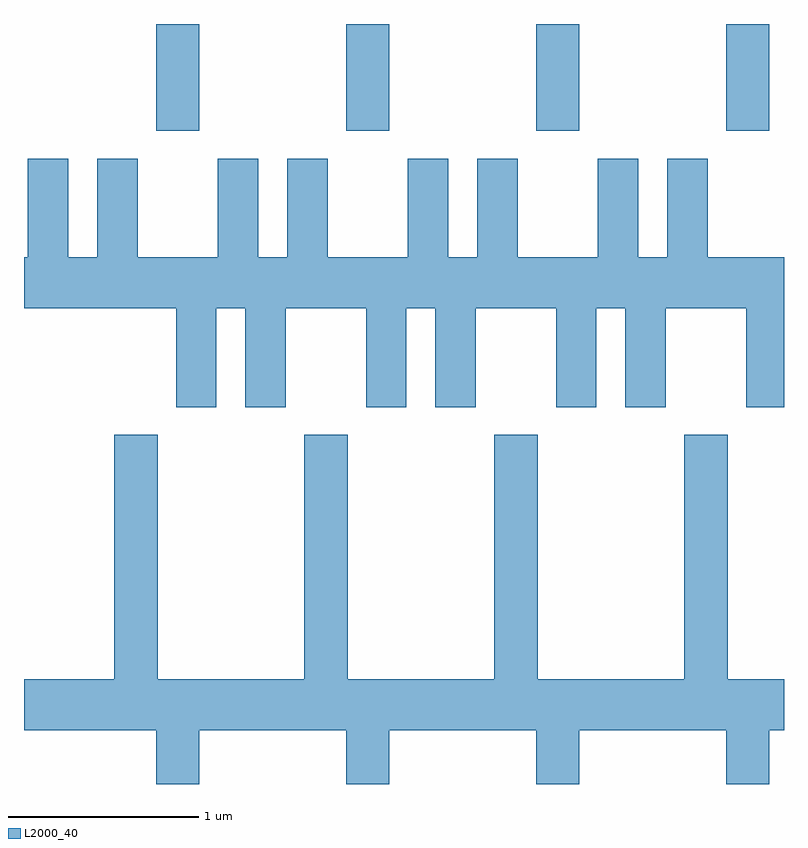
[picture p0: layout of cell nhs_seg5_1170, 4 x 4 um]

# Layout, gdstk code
import gdstk
lib = gdstk.Library(unit=1e-6, precision=1e-09)
def R(c, l, rs):  # rectangles x0, y0, x1, y1
    for r in rs: c.add(gdstk.rectangle(r[:2], r[2:], *l))
def A(c, l, x, y, w, h, nx, ny, dx, dy):  # array of equal rectangles
    R(c, l, [(x+i*dx, y+j*dy, x+i*dx+w, y+j*dy+h) for i in range(nx) for j in range(ny)])
def P(c, l, *ps):  # polygons
    for p in ps: c.add(gdstk.Polygon(p, *l))
L2000_40 = (2000, 40)

nhs_seg5_1170 = lib.new_cell('nhs_seg5_1170')
A(nhs_seg5_1170, L2000_40, 220.306, 1455.511, 0.228, 0.561, 4, 1, 1, 0)
P(nhs_seg5_1170, L2000_40, [(220.624,1454.576),(220.776,1454.576),(220.776,1454.056),(220.989,1454.056),(220.989,1454.576),(221.411,1454.576),(221.411,1454.056),(221.624,1454.056),(221.624,1454.576),(221.776,1454.576),(221.776,1454.056),(221.989,1454.056),(221.989,1454.576),(222.411,1454.576),(222.411,1454.056),(222.624,1454.056),(222.624,1454.576),(222.776,1454.576),(222.776,1454.056),(222.989,1454.056),(222.989,1454.576),(223.411,1454.576),(223.411,1454.056),(223.611,1454.056),(223.611,1454.844),(223.209,1454.844),(223.209,1455.364),(222.996,1455.364),(222.996,1454.844),(222.844,1454.844),(222.844,1455.364),(222.631,1455.364),(222.631,1454.844),(222.209,1454.844),(222.209,1455.364),(221.996,1455.364),(221.996,1454.844),(221.844,1454.844),(221.844,1455.364),(221.631,1455.364),(221.631,1454.844),(221.209,1454.844),(221.209,1455.364),(220.996,1455.364),(220.996,1454.844),(220.844,1454.844),(220.844,1455.364),(220.631,1455.364),(220.631,1454.844),(220.209,1454.844),(220.209,1455.364),(219.996,1455.364),(219.996,1454.844),(219.844,1454.844),(219.844,1455.364),(219.631,1455.364),(219.631,1454.844),(219.611,1454.844),(219.611,1454.576),(220.411,1454.576),(220.411,1454.056),(220.624,1454.056)],
  [(220.534,1452.356),(221.306,1452.356),(221.306,1452.072),(221.534,1452.072),(221.534,1452.356),(222.306,1452.356),(222.306,1452.072),(222.534,1452.072),(222.534,1452.356),(223.306,1452.356),(223.306,1452.072),(223.534,1452.072),(223.534,1452.356),(223.611,1452.356),(223.611,1452.624),(223.314,1452.624),(223.314,1453.909),(223.086,1453.909),(223.086,1452.624),(222.314,1452.624),(222.314,1453.909),(222.086,1453.909),(222.086,1452.624),(221.314,1452.624),(221.314,1453.909),(221.086,1453.909),(221.086,1452.624),(220.314,1452.624),(220.314,1453.909),(220.086,1453.909),(220.086,1452.624),(219.611,1452.624),(219.611,1452.356),(220.306,1452.356),(220.306,1452.072),(220.534,1452.072)])

lib.write_gds('nhs_seg5_1170.gds')
